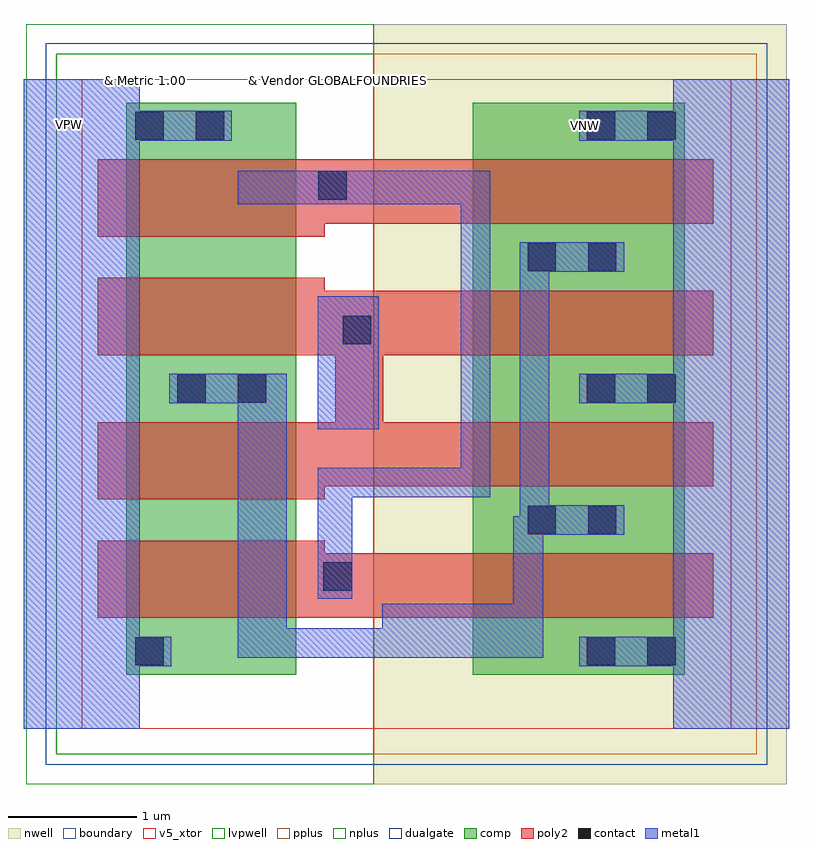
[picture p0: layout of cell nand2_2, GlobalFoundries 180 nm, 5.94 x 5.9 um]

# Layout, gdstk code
import gdstk
lib = gdstk.Library(unit=1e-6, precision=1e-09)
def R(c, l, rs):  # rectangles x0, y0, x1, y1
    for r in rs: c.add(gdstk.rectangle(r[:2], r[2:], *l))
def A(c, l, x, y, w, h, nx, ny, dx, dy):  # array of equal rectangles
    R(c, l, [(x+i*dx, y+j*dy, x+i*dx+w, y+j*dy+h) for i in range(nx) for j in range(ny)])
def P(c, l, *ps):  # polygons
    for p in ps: c.add(gdstk.Polygon(p, *l))
boundary = (0, 0)
nwell = (21, 0)
comp = (22, 0)
poly2 = (30, 0)
pplus = (31, 0)
nplus = (32, 0)
contact = (33, 0)
metal1 = (34, 0)
dualgate = (55, 0)
v5_xtor = (112, 1)
lvpwell = (204, 0)

nand2_2 = lib.new_cell('nand2_2')
R(nand2_2, boundary, [(6.51,33.39,11.55,38.43)])
R(nand2_2, nwell, [(8.775,32.96,11.98,38.86)])
R(nand2_2, comp, [(6.855,33.81,8.175,38.25), (9.545,33.81,11.19,38.25)])
P(nand2_2, poly2, [(6.635,37.21),(6.635,37.81),(11.41,37.81),(11.41,37.31),(8.395,37.31),(8.395,37.21)],
  [(6.635,35.17),(6.635,35.77),(8.475,35.77),(8.475,36.29),(6.635,36.29),(6.635,36.89),(8.395,36.89),(8.395,36.79),(11.41,36.79),(11.41,36.29),(8.85,36.29),(8.85,35.77),(11.41,35.77),(11.41,35.27),(8.395,35.27),(8.395,35.17)],
  [(6.635,34.25),(6.635,34.85),(8.395,34.85),(8.395,34.75),(11.41,34.75),(11.41,34.25)])
R(nand2_2, pplus, [(8.775,33.19,11.75,38.63)])
R(nand2_2, nplus, [(6.31,33.19,8.775,38.63)])
A(nand2_2, contact, 10.43, 33.88, 0.22, 0.22, 1, 3, 0, 2.04)
A(nand2_2, contact, 10.9, 33.88, 0.22, 0.22, 1, 3, 0, 2.04)
R(nand2_2, contact, [(6.925,33.88,7.145,34.1), (8.385,34.46,8.605,34.68), (9.97,34.9,10.19,35.12), (10.44,34.9,10.66,35.12), (7.25,35.92,7.47,36.14), (7.72,35.92,7.94,36.14), (8.535,36.375,8.755,36.595), (9.97,36.94,10.19,37.16), (10.44,36.94,10.66,37.16), (8.345,37.495,8.565,37.715), (6.925,37.96,7.145,38.18), (7.395,37.96,7.615,38.18)])
R(nand2_2, metal1, [(8.34,35.715,8.815,36.745)])
P(nand2_2, metal1, [(8.34,34.4),(8.34,35.415),(9.45,35.415),(9.45,37.46),(7.72,37.46),(7.72,37.72),(9.68,37.72),(9.68,35.185),(8.61,35.185),(8.61,34.4)],
  [(7.72,33.94),(7.72,35.915),(7.19,35.915),(7.19,36.145),(8.1,36.145),(8.1,34.17),(8.84,34.17),(8.84,34.36),(9.86,34.36),(9.86,35.04),(9.91,35.04),(9.91,37.165),(10.72,37.165),(10.72,36.935),(10.14,36.935),(10.14,35.125),(10.72,35.125),(10.72,34.895),(10.09,34.895),(10.09,33.94)],
  [(6.06,33.39),(6.06,38.43),(6.96,38.43),(6.96,38.185),(7.675,38.185),(7.675,37.955),(6.96,37.955),(6.96,34.105),(7.205,34.105),(7.205,33.875),(6.96,33.875),(6.96,33.39)],
  [(11.1,33.39),(11.1,33.875),(10.37,33.875),(10.37,34.105),(11.1,34.105),(11.1,35.915),(10.37,35.915),(10.37,36.145),(11.1,36.145),(11.1,37.955),(10.37,37.955),(10.37,38.185),(11.1,38.185),(11.1,38.43),(12,38.43),(12,33.39)])
R(nand2_2, dualgate, [(6.23,33.11,11.83,38.71)])
R(nand2_2, v5_xtor, [(6.51,33.39,11.55,38.43)])
R(nand2_2, lvpwell, [(6.08,32.96,8.775,38.86)])
nand2_2.add(gdstk.Label('& Vendor GLOBALFOUNDRIES', (8.5,38.42), layer=63, texttype=63))
nand2_2.add(gdstk.Label('& Product GF018hv5v_green_sc9', (8,38.42), layer=63, texttype=63))
nand2_2.add(gdstk.Label('& Version 2015q2v2', (7.5,38.42), layer=63, texttype=63))
nand2_2.add(gdstk.Label('& Metric 1.00', (7,38.42), layer=63, texttype=63))
nand2_2.add(gdstk.Label('VNW', (10.42,38.075), layer=21, texttype=10))
nand2_2.add(gdstk.Label('VPW', (6.415,38.08), layer=204, texttype=10))

lib.write_gds('nand2_2.gds')
